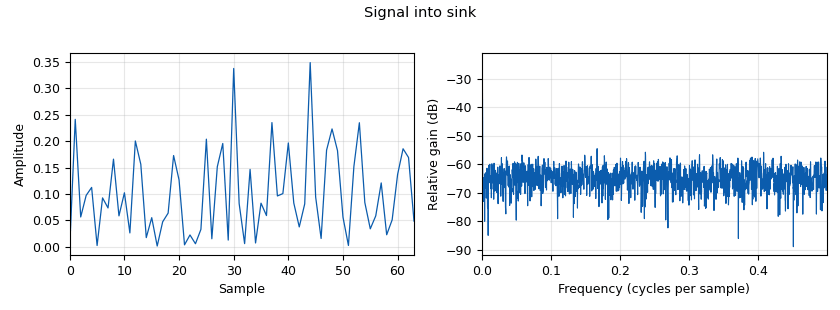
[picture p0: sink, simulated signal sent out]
<?xml version='1.0' encoding='utf-8'?>
<flow_graph>
<block>
<key>variable</key>
<param><key>id</key><value>samp_rate</value></param>
<param><key>value</key><value>32000</value></param>
</block>
<block>
<key>parameter</key>
<param><key>id</key><value>noise_amplitude</value></param>
<param><key>value</key><value>0.31</value></param>
<param><key>type</key><value>eng_float</value></param>
</block>
<block>
<key>parameter</key>
<param><key>id</key><value>filter_taps</value></param>
<param><key>value</key><value>[1,0,0,0]</value></param>
</block>
<block>
<key>options</key>
<param><key>id</key><value>noise_simulation</value></param>
<param><key>generate_options</key><value>no_gui</value></param>
<param><key>category</key><value>Custom</value></param>
</block>
<block>
<key>gr_noise_source_x</key>
<param><key>id</key><value>gr_noise_source_x_0</value></param>
<param><key>type</key><value>complex</value></param>
<param><key>noise_type</key><value>gr.GR_GAUSSIAN</value></param>
<param><key>amp</key><value>noise_amplitude</value></param>
<param><key>seed</key><value>42</value></param>
</block>
<block>
<key>gr_fir_filter_xxx</key>
<param><key>id</key><value>gr_fir_filter_xxx_0</value></param>
<param><key>type</key><value>ccc</value></param>
<param><key>decim</key><value>8</value></param>
<param><key>taps</key><value>filter_taps</value></param>
</block>
<block>
<key>gr_complex_to_mag_squared</key>
<param><key>id</key><value>gr_complex_to_mag_squared_0</value></param>
<param><key>vlen</key><value>1</value></param>
</block>
<block>
<key>gr_head</key>
<param><key>id</key><value>gr_head_0</value></param>
<param><key>type</key><value>float</value></param>
<param><key>num_items</key><value>10000</value></param>
<param><key>vlen</key><value>1</value></param>
</block>
<block>
<key>gr_vector_sink_x</key>
<param><key>id</key><value>sink</value></param>
<param><key>type</key><value>float</value></param>
<param><key>vlen</key><value>1</value></param>
</block>
<connection><source_block_id>gr_noise_source_x_0</source_block_id><sink_block_id>gr_fir_filter_xxx_0</sink_block_id><source_key>0</source_key><sink_key>0</sink_key></connection>
<connection><source_block_id>gr_fir_filter_xxx_0</source_block_id><sink_block_id>gr_complex_to_mag_squared_0</sink_block_id><source_key>0</source_key><sink_key>0</sink_key></connection>
<connection><source_block_id>gr_complex_to_mag_squared_0</source_block_id><sink_block_id>gr_head_0</sink_block_id><source_key>0</source_key><sink_key>0</sink_key></connection>
<connection><source_block_id>gr_head_0</source_block_id><sink_block_id>sink</sink_block_id><source_key>0</source_key><sink_key>0</sink_key></connection>
</flow_graph>
